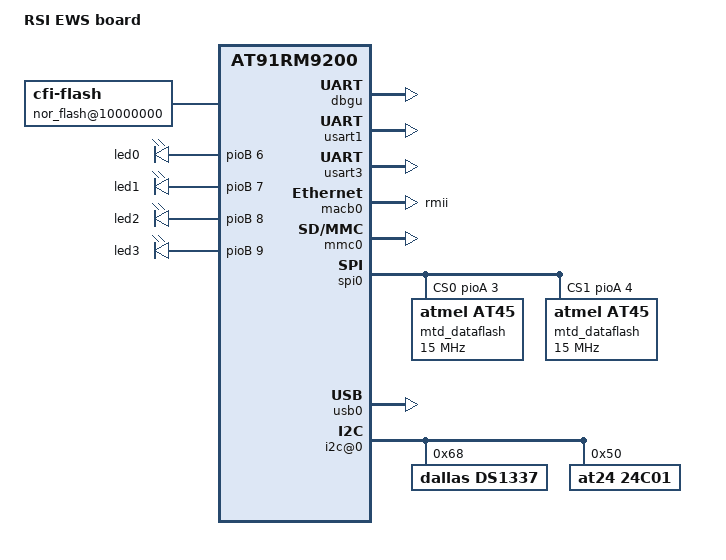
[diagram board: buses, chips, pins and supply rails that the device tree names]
/*
 * at91-rsi-ews.dts - Device Tree file for RSI EWS board
 *
 * Copyright (C) 2013 Jean-Christophe PLAGNIOL-VILLARD <plagnioj@jcrosoft.com>
 *
 * Licensed under GPLv2 only
 */
/dts-v1/;
#include "at91rm9200.dtsi"

/ {
	model = "RSI EWS board";
	compatible = "rsi,ews", "atmel,at91rm9200";

	clocks {
		#address-cells = <1>;
		#size-cells = <1>;
		ranges;

		main_clock: clock@0 {
			compatible = "atmel,osc", "fixed-clock";
			clock-frequency = <18432000>;
		};
	};

	ahb {
		apb {
			dbgu: serial@fffff200 {
				status = "okay";
			};

			usart1: serial@fffc4000 {
				pinctrl-0 =
						<&pinctrl_uart1
						 &pinctrl_uart1_rts
						 &pinctrl_uart1_cts
						 &pinctrl_uart1_dtr_dsr
						 &pinctrl_uart1_dcd
						 &pinctrl_uart1_ri>;
				status = "okay";
			};

			usart3: serial@fffcc000 {
				pinctrl-0 =
						<&pinctrl_uart3
						 &pinctrl_uart3_rts>;
				status = "okay";
			};

			macb0: ethernet@fffbc000 {
				phy-mode = "rmii";
				status = "okay";
				/* phy irq on PC4 */
			};

			mmc0: mmc@fffb4000 {
				pinctrl-0 = <
					&pinctrl_board_mmc0
					&pinctrl_mmc0_clk
					&pinctrl_mmc0_slot0_cmd_dat0
					&pinctrl_mmc0_slot0_dat1_3>;
				status = "okay";
				slot@0 {
					reg = <0>;
					bus-width = <4>;
					cd-gpios = <&pioB 27 GPIO_ACTIVE_HIGH>;
					wp-gpios = <&pioB 29 GPIO_ACTIVE_HIGH>;
				};
			};

			pinctrl@fffff400 {
				mmc0 {
					pinctrl_board_mmc0: mmc0-board {
						atmel,pins =
							<AT91_PIOB 27 AT91_PERIPH_GPIO AT91_PINCTRL_PULL_UP_DEGLITCH
							 AT91_PIOC 29 AT91_PERIPH_GPIO AT91_PINCTRL_PULL_UP>;
					};
				};
			};

			spi0: spi@fffe0000 {
				status = "okay";
				cs-gpios = <&pioA 3 GPIO_ACTIVE_HIGH>, <&pioA 4 GPIO_ACTIVE_HIGH>, <0>, <0>;
				mtd_dataflash@0 {
					compatible = "atmel,at45", "atmel,dataflash";
					spi-max-frequency = <15000000>;
					reg = <0>;
				};

				mtd_dataflash@1 {
					compatible = "atmel,at45", "atmel,dataflash";
					spi-max-frequency = <15000000>;
					reg = <1>;
				};
			};
		};

		usb0: ohci@00300000 {
			num-ports = <1>;
			status = "okay";
		};

		nor_flash@10000000 {
			compatible = "cfi-flash";
			reg = <0x10000000 0x1000000>;
			linux,mtd-name = "physmap-flash.0";
			bank-width = <2>;
			#address-cells = <1>;
			#size-cells = <1>;

			boot@0 {
				label = "boot";
				reg = <0x00000 0x60000>;
			};

			kernel@60000 {
				label = "kernel";
				reg = <0x60000 0x1a0000>;
			};

			root@200000 {
				label = "kernel";
				reg = <0x200000 0x800000>;
			};

			kernelupd@A00000  {
				label = "kernelupd";
				reg = <0xA00000 0x180000>;
			};

			rootupd@B80000  {
				label = "rootupd";
				reg = <0xB80000 0x480000>;
			};
		};
	};

	leds {
		compatible = "gpio-leds";

		led0 {
			label = "led0";
			gpios = <&pioB 6 GPIO_ACTIVE_HIGH>;
		};

		led1 {
			label = "led1";
			gpios = <&pioB 7 GPIO_ACTIVE_HIGH>;
		};

		led2 {
			label = "led2";
			gpios = <&pioB 8 GPIO_ACTIVE_HIGH>;
		};

		led3 {
			label = "led3";
			gpios = <&pioB 9 GPIO_ACTIVE_HIGH>;
		};
	};

	i2c@0 {
		status = "okay";

		ds1337@68 {
			compatible = "dallas,ds1337";
			reg = <0x68>;
		};

		24c01@50 {
			compatible = "at24,24c01";
			reg = <0x50>;
		};
	};
};
